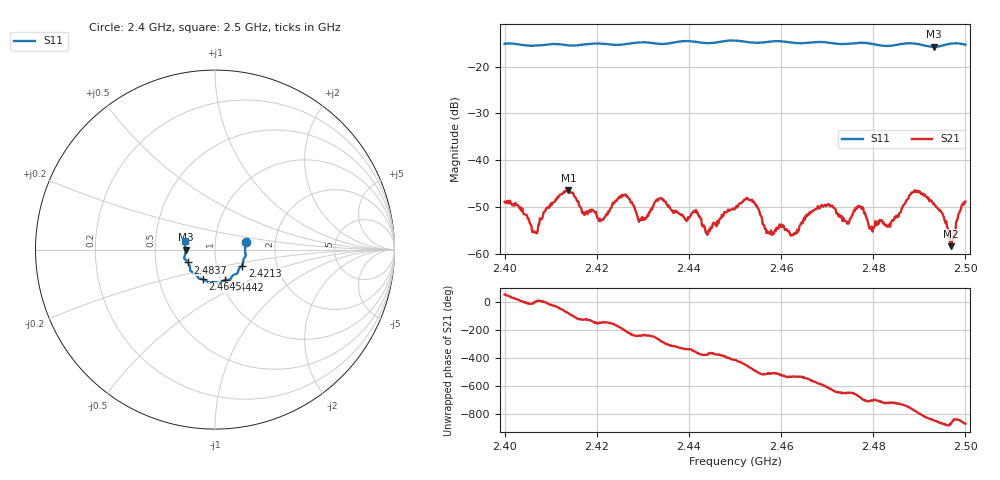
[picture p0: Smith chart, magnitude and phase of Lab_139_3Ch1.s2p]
# Hz S RI R 50
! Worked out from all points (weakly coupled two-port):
!   601 points, 2.4 GHz to 2.5 GHz, reference 50 ohm
!   highest |S21| = -46.33 dB at 2.4138 GHz (marker M1); lowest = -58.4 dB at 2.4968 GHz (marker M2)
!   lowest |S11| = -15.7 dB at 2.4932 GHz (marker M3), VSWR 1.39, Z = 36 - j0.0582 ohm
!   |S11| at or under -10 dB: start of sweep to end of sweep
!   S12 and S22 are empty: the file has one direction only
!   S11 on the Smith chart (normalised r, x): 2.4 GHz: 1.41, +0.12; 2.4213 GHz: 1.33, -0.25; 2.4442 GHz: 1.05, -0.37; 2.4645 GHz: 0.83, -0.29; 2.4837 GHz: 0.73, -0.11; 2.5 GHz: 0.71, +0.07
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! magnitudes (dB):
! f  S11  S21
! 2.4 GHz  -15.1  -48.9
! 2.4065 GHz  -15.5  -55.3
! 2.4138 GHz  -15.4  -46.3
! 2.4167 GHz  -15.3  -50.4
! 2.4213 GHz  -15.1  -52.6
! 2.4257 GHz  -15.2  -47.6
! 2.4297 GHz  -14.8  -52.8
! 2.4333 GHz  -15.1  -48.6
! 2.4442 GHz  -15.0  -55.3
! 2.45 GHz  -14.4  -50.4
! 2.4538 GHz  -14.8  -48.9
! 2.4578 GHz  -14.6  -55.0
! 2.4645 GHz  -15.0  -53.3
! 2.4667 GHz  -14.8  -50.9
! 2.4772 GHz  -14.9  -49.8
! 2.4795 GHz  -15.1  -54.7
! 2.4833 GHz  -15.6  -54.1
! 2.4837 GHz  -15.5  -54.2
! 2.4888 GHz  -15.0  -46.7
! 2.4932 GHz  -15.7  -49.2
! 2.4968 GHz  -15.1  -58.4
! 2.5 GHz  -15.3  -48.8
